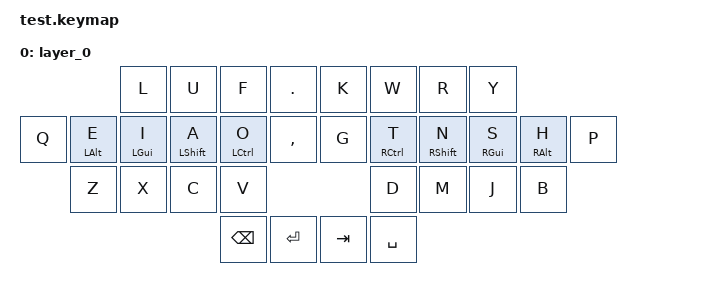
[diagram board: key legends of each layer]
#include <behaviors.dtsi>
#include <dt-bindings/zmk/keys.h>

/ {
   keymap {
      compatible = "zmk,keymap";

      layer_0 {
         bindings = <
                        &kp L       &kp U       &kp F       &kp DOT             &kp K       &kp W       &kp R       &kp Y
&kp Q       &mt LALT E  &mt LGUI I  &mt LSHFT A &mt LCTRL O &kp COMMA           &kp G       &mt RCTRL T &mt RSHFT N &mt RGUI S   &mt RALT H  &kp P
            &kp Z       &kp X       &kp C       &kp V                                       &kp D       &kp M       &kp J       &kp B
                                                &kp BSPC    &kp ENTER           &kp TAB     &kp SPACE
         >;
      };
   };
};
